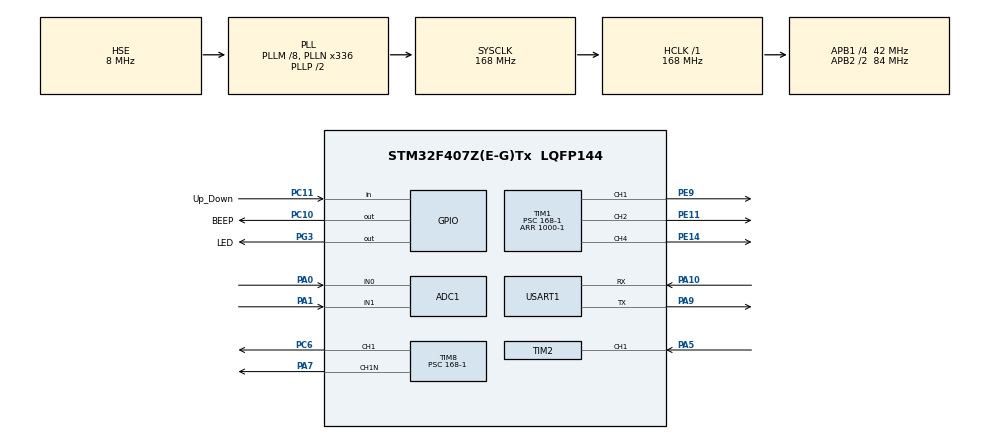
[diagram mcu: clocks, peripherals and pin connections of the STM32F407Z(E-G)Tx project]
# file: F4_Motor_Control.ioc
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ADC1.Channel-1\#ChannelRegularConversion=ADC_CHANNEL_0
ADC1.Channel-2\#ChannelRegularConversion=ADC_CHANNEL_1
ADC1.ClockPrescaler=ADC_CLOCK_SYNC_PCLK_DIV6
ADC1.ContinuousConvMode=ENABLE
ADC1.DMAContinuousRequests=ENABLE
ADC1.InjNumberOfConversion=0
ADC1.NbrOfConversion=2
ADC1.NbrOfConversionFlag=1
ADC1.Rank-1\#ChannelRegularConversion=1
ADC1.Rank-2\#ChannelRegularConversion=2
ADC1.SamplingTime-1\#ChannelRegularConversion=ADC_SAMPLETIME_15CYCLES
ADC1.SamplingTime-2\#ChannelRegularConversion=ADC_SAMPLETIME_15CYCLES
ADC1.ScanConvMode=ENABLE
ADC1.master=1
Dma.ADC1.0.Direction=DMA_PERIPH_TO_MEMORY
Dma.ADC1.0.FIFOMode=DMA_FIFOMODE_DISABLE
Dma.ADC1.0.Instance=DMA2_Stream0
Dma.ADC1.0.MemDataAlignment=DMA_MDATAALIGN_WORD
Dma.ADC1.0.MemInc=DMA_MINC_ENABLE
Dma.ADC1.0.Mode=DMA_CIRCULAR
Dma.ADC1.0.PeriphDataAlignment=DMA_PDATAALIGN_WORD
Dma.ADC1.0.PeriphInc=DMA_PINC_DISABLE
Dma.ADC1.0.Priority=DMA_PRIORITY_LOW
Dma.Request0=ADC1
Mcu.Family=STM32F4
Mcu.Name=STM32F407Z(E-G)Tx
Mcu.Package=LQFP144
NVIC.DMA2_Stream0_IRQn=true\:1\:0\:true\:false\:true\:false\:true
NVIC.PriorityGroup=NVIC_PRIORITYGROUP_4
NVIC.TIM2_IRQn=true\:0\:0\:true\:false\:true\:true\:true
NVIC.TIM3_IRQn=true\:1\:0\:true\:false\:true\:true\:true
NVIC.USART1_IRQn=true\:0\:0\:true\:false\:true\:true\:true
PA0-WKUP.Signal=ADCx_IN0
PA1.Signal=ADCx_IN1
PA10.Mode=Asynchronous
PA10.Signal=USART1_RX
PA13.Mode=Serial_Wire
PA13.Signal=SYS_JTMS-SWDIO
PA14.Mode=Serial_Wire
PA14.Signal=SYS_JTCK-SWCLK
PA5.Signal=S_TIM2_CH1_ETR
PA7.Mode=PWM Generation1 CH1 CH1N
PA7.Signal=TIM8_CH1N
PA9.Mode=Asynchronous
PA9.Signal=USART1_TX
PC10.GPIO_Label=BEEP
PC10.GPIO_ModeDefaultOutputPP=GPIO_MODE_OUTPUT_OD
PC10.GPIO_PuPd=GPIO_PULLUP
PC10.PinState=GPIO_PIN_SET
PC10.Signal=GPIO_Output
PC11.GPIO_Label=Up_Down
PC11.GPIO_PuPd=GPIO_PULLUP
PC11.Signal=GPIO_Input
PC14-OSC32_IN.Mode=LSE-External-Oscillator
PC14-OSC32_IN.Signal=RCC_OSC32_IN
PC15-OSC32_OUT.Mode=LSE-External-Oscillator
PC15-OSC32_OUT.Signal=RCC_OSC32_OUT
PC6.Signal=S_TIM8_CH1
PE11.Signal=S_TIM1_CH2
PE14.Signal=S_TIM1_CH4
PE9.Signal=S_TIM1_CH1
PG3.GPIO_Label=LED
PG3.Signal=GPIO_Output
PH0-OSC_IN.Mode=HSE-External-Oscillator
PH0-OSC_IN.Signal=RCC_OSC_IN
PH1-OSC_OUT.Mode=HSE-External-Oscillator
PH1-OSC_OUT.Signal=RCC_OSC_OUT
ProjectManager.HeapSize=0x200
ProjectManager.StackSize=0x400
ProjectManager.TargetToolchain=STM32CubeIDE
RCC.48MHZClocksFreq_Value=84000000
RCC.AHBFreq_Value=168000000
RCC.APB1CLKDivider=RCC_HCLK_DIV4
RCC.APB1Freq_Value=42000000
RCC.APB1TimFreq_Value=84000000
RCC.APB2CLKDivider=RCC_HCLK_DIV2
RCC.APB2Freq_Value=84000000
RCC.APB2TimFreq_Value=168000000
RCC.CortexFreq_Value=168000000
RCC.HCLKFreq_Value=168000000
RCC.HSE_VALUE=8000000
RCC.HSI_VALUE=16000000
RCC.PLLM=8
RCC.PLLN=336
RCC.PLLSourceVirtual=RCC_PLLSOURCE_HSE
RCC.SYSCLKFreq_VALUE=168000000
RCC.SYSCLKSource=RCC_SYSCLKSOURCE_PLLCLK
RCC.VCOOutputFreq_Value=336000000
SH.ADCx_IN0.0=ADC1_IN0,IN0
SH.ADCx_IN1.0=ADC1_IN1,IN1
SH.S_TIM1_CH1.0=TIM1_CH1,PWM Generation1 CH1
SH.S_TIM1_CH2.0=TIM1_CH2,PWM Generation2 CH2
SH.S_TIM1_CH4.0=TIM1_CH4,PWM Generation4 CH4
SH.S_TIM2_CH1_ETR.0=TIM2_CH1,Input_Capture1_from_TI1
SH.S_TIM8_CH1.0=TIM8_CH1,PWM Generation1 CH1 CH1N
TIM1.Channel-PWM\ Generation1\ CH1=TIM_CHANNEL_1
TIM1.Channel-PWM\ Generation2\ CH2=TIM_CHANNEL_2
TIM1.Channel-PWM\ Generation4\ CH4=TIM_CHANNEL_4
TIM1.Period=1000-1
TIM1.Prescaler=168-1
TIM1.Pulse-PWM\ Generation4\ CH4=0
TIM2.Channel-Input_Capture1_from_TI1=TIM_CHANNEL_1
TIM2.Period=0xffff
TIM2.Prescaler=84-1
TIM2.TIM_MasterOutputTrigger=TIM_TRGO_UPDATE
TIM3.Period=10000-1
TIM3.Prescaler=84-1
TIM8.Channel-PWM\ Generation1\ CH1\ CH1N=TIM_CHANNEL_1
TIM8.Period=1000-1
TIM8.Prescaler=168-1
USART1.VirtualMode=VM_ASYNC
VP_TIM1_VS_ClockSourceINT.Mode=Internal
VP_TIM2_VS_ClockSourceINT.Mode=Internal
VP_TIM3_VS_ClockSourceINT.Mode=Internal
VP_TIM8_VS_ClockSourceINT.Mode=Internal
board=custom

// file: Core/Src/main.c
/* USER CODE BEGIN Header */
/**
  ******************************************************************************
  * @file           : main.c
  * @brief          : Main program body
  ******************************************************************************
  * @attention
  *
  * <h2><center>&copy; Copyright (c) 2020 STMicroelectronics.
  * All rights reserved.</center></h2>
  *
  * This software component is licensed by ST under BSD 3-Clause license,
  * the "License"; You may not use this file except in compliance with the
  * License. You may obtain a copy of the License at:
  *                        opensource.org/licenses/BSD-3-Clause
  *
  ******************************************************************************
  */
/* USER CODE END Header */

#include "main.h"
#include "adc.h"
#include "dma.h"
#include "tim.h"
#include "usart.h"
#include "gpio.h"

/* USER CODE BEGIN Includes */
#include "wifi.h"
#include "inputcap.h"
#include "AdcDma.h"
#include "pid.h"
/* USER CODE END Includes */

/* USER CODE BEGIN PV */
uint8_t Up_Flag = 1;  // 1 up 0 down

float Target_V = 15;
float Target_Speed = 2;

uint16_t Pwm_Boost_CompareValue = 80;  //boost init compareValue
int Pwm_Motor_CompareValue = 500; //pwm motor init compareValue

/* USER CODE END PV */

void SystemClock_Config(void);
/* USER CODE BEGIN PFP */
void System_Init(void); // system init
void Set_CompareValue(int CompareValue); //set motor comparevalue

void Boost_Control(void);  //boost
void Motor_Contorl(void);

void StateJudgment(float Speed);
void Direction_Control(void);  // Control the direct

/* USER CODE END PFP */

int main(void)
{

  /* MCU Configuration--------------------------------------------------------*/

  /* Reset of all peripherals, Initializes the Flash interface and the Systick. */
  HAL_Init();

  /* Configure the system clock */
  SystemClock_Config();

  /* Initialize all configured peripherals */
  MX_GPIO_Init();
  MX_DMA_Init();
  MX_TIM2_Init();
  MX_USART1_UART_Init();
  MX_ADC1_Init();
  MX_TIM1_Init();
  MX_TIM3_Init();
  MX_TIM8_Init();
  /* USER CODE BEGIN 2 */
  System_Init();
  /* USER CODE END 2 */

  /* Infinite loop */
  /* USER CODE BEGIN WHILE */
  while (1)
  {
	 // Motor_Contorl();
	 StateJudgment((float)2000 / 30 / Cycle);
	 //Boost_Control();

	  Update_Data(); //update data,do fliter to change ADC_ValueAverage
	  Tcp_DataAccept(); //get tcp data and deal the wifi request
    /* USER CODE END WHILE */

  }
}

void SystemClock_Config(void)
{
  RCC_OscInitTypeDef RCC_OscInitStruct = {0};
  RCC_ClkInitTypeDef RCC_ClkInitStruct = {0};

  /** Configure the main internal regulator output voltage
  */
  __HAL_RCC_PWR_CLK_ENABLE();
  __HAL_PWR_VOLTAGESCALING_CONFIG(PWR_REGULATOR_VOLTAGE_SCALE1);
  /** Initializes the CPU, AHB and APB busses clocks
  */
  RCC_OscInitStruct.OscillatorType = RCC_OSCILLATORTYPE_HSE;
  RCC_OscInitStruct.HSEState = RCC_HSE_ON;
  RCC_OscInitStruct.PLL.PLLState = RCC_PLL_ON;
  RCC_OscInitStruct.PLL.PLLSource = RCC_PLLSOURCE_HSE;
  RCC_OscInitStruct.PLL.PLLM = 8;
  RCC_OscInitStruct.PLL.PLLN = 336;
  RCC_OscInitStruct.PLL.PLLP = RCC_PLLP_DIV2;
  RCC_OscInitStruct.PLL.PLLQ = 4;
  if (HAL_RCC_OscConfig(&RCC_OscInitStruct) != HAL_OK)
  {
    Error_Handler();
  }
  /** Initializes the CPU, AHB and APB busses clocks
  */
  RCC_ClkInitStruct.ClockType = RCC_CLOCKTYPE_HCLK|RCC_CLOCKTYPE_SYSCLK
                              |RCC_CLOCKTYPE_PCLK1|RCC_CLOCKTYPE_PCLK2;
  RCC_ClkInitStruct.SYSCLKSource = RCC_SYSCLKSOURCE_PLLCLK;
  RCC_ClkInitStruct.AHBCLKDivider = RCC_SYSCLK_DIV1;
  RCC_ClkInitStruct.APB1CLKDivider = RCC_HCLK_DIV4;
  RCC_ClkInitStruct.APB2CLKDivider = RCC_HCLK_DIV2;

  if (HAL_RCC_ClockConfig(&RCC_ClkInitStruct, FLASH_LATENCY_5) != HAL_OK)
  {
    Error_Handler();
  }
}

/* USER CODE BEGIN 4 */
void Set_CompareValue(int CompareValue) {
	if(Up_Flag == 1) {
		__HAL_TIM_SET_COMPARE(&htim1, TIM_CHANNEL_2, 0);
		__HAL_TIM_SET_COMPARE(&htim1, TIM_CHANNEL_1, (uint16_t)CompareValue);
	} else {
		__HAL_TIM_SET_COMPARE(&htim1, TIM_CHANNEL_1, 0);
		__HAL_TIM_SET_COMPARE(&htim1, TIM_CHANNEL_2, (uint16_t)CompareValue);
	}
}

void Direction_Control(void) {
	if(Up_Flag == 1) {
		Set_CompareValue((uint16_t)0);
		Up_Flag = 0;
	} else {
		Set_CompareValue((uint16_t)0);
		Up_Flag = 1;
	}
}

#define BufferSize 400
float MaxRange = 1.015,MinRange = 0.985; //Speed stability range

uint16_t BufferIndex = 0;

uint8_t SystemState = 0; //system status:0init,1Uniform speed,2Lost speed after constant speed,3restore
float StableI = 0; // I at constant speed
void StateJudgment(float Speed) {
	if(SystemState == 0) { //init

		if((Speed < Target_Speed * MinRange) || (Speed > Target_Speed * MaxRange)) {
			BufferIndex = 0;
		} else {
			BufferIndex++;
		}
		if(BufferIndex == BufferSize) {
			SystemState = 1; //constant speed
			StableI = ADC_ValueAverage[1]; //Current at constant speed
			//HAL_GPIO_WritePin(BEEP_GPIO_Port, BEEP_Pin, GPIO_PIN_RESET);
			BufferIndex = 0;
			return;
		}
	}
	if(SystemState == 1) { //constant speed
		if(Speed > Target_Speed * 1.3 || Speed < Target_Speed * 0.7) {
			BufferIndex++;
		} else {
			BufferIndex = 0;
		}
		if(BufferIndex == 10) {
			SystemState = 2;
			//HAL_GPIO_WritePin(BEEP_GPIO_Port, BEEP_Pin, GPIO_PIN_RESET);
			BufferIndex = 0;
			return;
		}
	}
	if(SystemState == 2) { //Enter the speed control state
		if((Speed < Target_Speed * MinRange) || (Speed > Target_Speed * MaxRange)) {
			BufferIndex = 0;
		} else {
			BufferIndex++;
		}
		if(BufferIndex == BufferSize) {
			SystemState = 3; //constant speed
			//HAL_GPIO_WritePin(BEEP_GPIO_Port, BEEP_Pin, GPIO_PIN_RESET);
			BufferIndex = 0;
			return;
		}
	}
	if(SystemState == 3) { //the speed is restored
		if(Up_Flag == 1 && (fabs(ADC_ValueAverage[1] - 1.65) > 1.5 * fabs(StableI - 1.65))) {
			HAL_GPIO_WritePin(BEEP_GPIO_Port, BEEP_Pin, GPIO_PIN_RESET);
			//Beep();  //When rising
		}
		if(Up_Flag == 0 && (fabs(ADC_ValueAverage[1] - 1.65) < 0.5 * fabs(StableI - 1.65))) {
			HAL_GPIO_WritePin(BEEP_GPIO_Port, BEEP_Pin, GPIO_PIN_RESET);
			//Beep(); //When falling
		}
		SystemState = 1; //Return to constant speed mode
	}
}

void Motor_Contorl(void) {
	 float Pid_Output = PID_Calc((float)2000 / 30 / Cycle , Target_Speed); //Perform Pid operation
	 Pwm_Motor_CompareValue += (int) Pid_Output; //Pwm+ PIdoutput
	 if(Pwm_Motor_CompareValue >= 1000) {//if compare too high
		 Pwm_Motor_CompareValue = 1000/2;
	 }
	 if(Pwm_Motor_CompareValue <= 0) { //ifcompare too low
		 Pwm_Motor_CompareValue = 0;
	 }
	 Set_CompareValue(Pwm_Motor_CompareValue); //set the compareValue
}

void Boost_Control(void) {
	float Pid_Output = PID_Calc1(ADC_ValueAverage[0], Target_V); //Perform Pid operation
	Pwm_Boost_CompareValue += (uint16_t) Pid_Output; //Pwm+ PIdoutput
	if(Pwm_Boost_CompareValue >= 1000) {//if compare too high
		Pwm_Boost_CompareValue = 1000/2;
	}
	if(Pwm_Boost_CompareValue <= 0) { //if compare too low
		Pwm_Boost_CompareValue = 0;
	}
	__HAL_TIM_SET_COMPARE(&htim8, TIM_CHANNEL_1, Pwm_Boost_CompareValue); //set the compareValue
}

void System_Init(void) {
	  /*WIFI  Init*/
	  Server_Init();
	  HAL_Delay(500);
	  HAL_UART_Receive_IT(&huart1,&Uart1_Rx_Char,1);

	  /*input cap Init*/
	  HAL_TIM_IC_Start_IT(&htim2, TIM_CHANNEL_1);	// Start timer input capture channel
	  __HAL_TIM_ENABLE_IT(&htim2,TIM_IT_UPDATE);	//Enable update interrupt

	  /*ADC  Dma Init*/
	  HAL_ADC_Start_DMA(&hadc1, (uint32_t*)&ADC_Value, Sample_Num * Channel_Num);

	  /*motor Init*/
	  //HAL_TIM_PWM_Start(&htim1,TIM_CHANNEL_4);
	  HAL_TIM_PWM_Start(&htim1,TIM_CHANNEL_1);
	  HAL_TIM_PWM_Start(&htim1,TIM_CHANNEL_2);
	  Set_CompareValue(Pwm_Motor_CompareValue); //motor init

	  /*Boost Init*/
	  HAL_TIM_PWM_Start(&htim8, TIM_CHANNEL_1);
	  HAL_TIMEx_PWMN_Start(&htim8, TIM_CHANNEL_1);//boost init
	  __HAL_TIM_SET_COMPARE(&htim8, TIM_CHANNEL_1, Pwm_Boost_CompareValue);

	  /*pid partParameter Set*/
	  Set_PID_Parameter(30, 20, 0);
	  Set_PID_Parameter1(1, 1, 1);

	  /*tim3 init*/
	  HAL_TIM_Base_Start_IT(&htim3);  //10ms interrupt
}
uint16_t CompareValue_Buffer = 0;
void Tcp_DataDeal(void) {
	  //Server_SentTo_Client(Wifi_Command_Buffer);
	  char Str[40] = {0};
	  if(Strcmp(Wifi_Command_Buffer, (uint8_t *)"Cycle\r")) {
		  sprintf(Str, "Cycle:%d", (int)Cycle);
		  Server_SentTo_Client((uint8_t *)Str);
	  } else if(Strcmp(Wifi_Command_Buffer, (uint8_t *)"I\r")) {
		  sprintf(Str, "Motor_I: %f A", ADC_ValueAverage[1]);
		  Server_SentTo_Client((uint8_t *)Str);
	  } else if(Strcmp(Wifi_Command_Buffer, (uint8_t *)"V\r")) {
		  sprintf(Str, "Boost_V: %f V", ADC_ValueAverage[0]);
		  Server_SentTo_Client((uint8_t *)Str);
	  } else if(Strcmp(Wifi_Command_Buffer, (uint8_t *)"Speed\r")) {
		  sprintf(Str, "Speed: %f r/s", (float)2000 / Cycle);
		  Server_SentTo_Client((uint8_t *)Str);
	  }
	  else if(Wifi_Command_Buffer[0] == 'S' && Wifi_Command_Buffer[1] == 'E' && Wifi_Command_Buffer[2] == 'T') {
		  if(Wifi_Command_Buffer[3] == 'C') {
			  for(uint8_t i = 5; Wifi_Command_Buffer[i] != '\r'; i++) {
				  CompareValue_Buffer += Wifi_Command_Buffer[i] - '0';
				  CompareValue_Buffer *= 10;
			  }
			  CompareValue_Buffer /= 10;
			  Pwm_Motor_CompareValue = (int)CompareValue_Buffer;

			  Target_Speed = (float)CompareValue_Buffer;
			  //Set_CompareValue((uint16_t)Pwm_Motor_CompareValue);

			  CompareValue_Buffer = 0;
		  }
		  if(Wifi_Command_Buffer[3] == 'T') {
			  Direction_Control();
	 	  }

	  }

	  else {
		  sprintf(Str, "Cycle:%d|Width:%d|I:%f|V:%f", (int)Cycle, (int)Width, ADC_ValueAverage[1], ADC_ValueAverage[0]);
	  	  Server_SentTo_Client((uint8_t *)Str);
	  }

}
/* USER CODE END 4 */

void Error_Handler(void)
{
}

/************************ (C) COPYRIGHT STMicroelectronics *****END OF FILE****/
